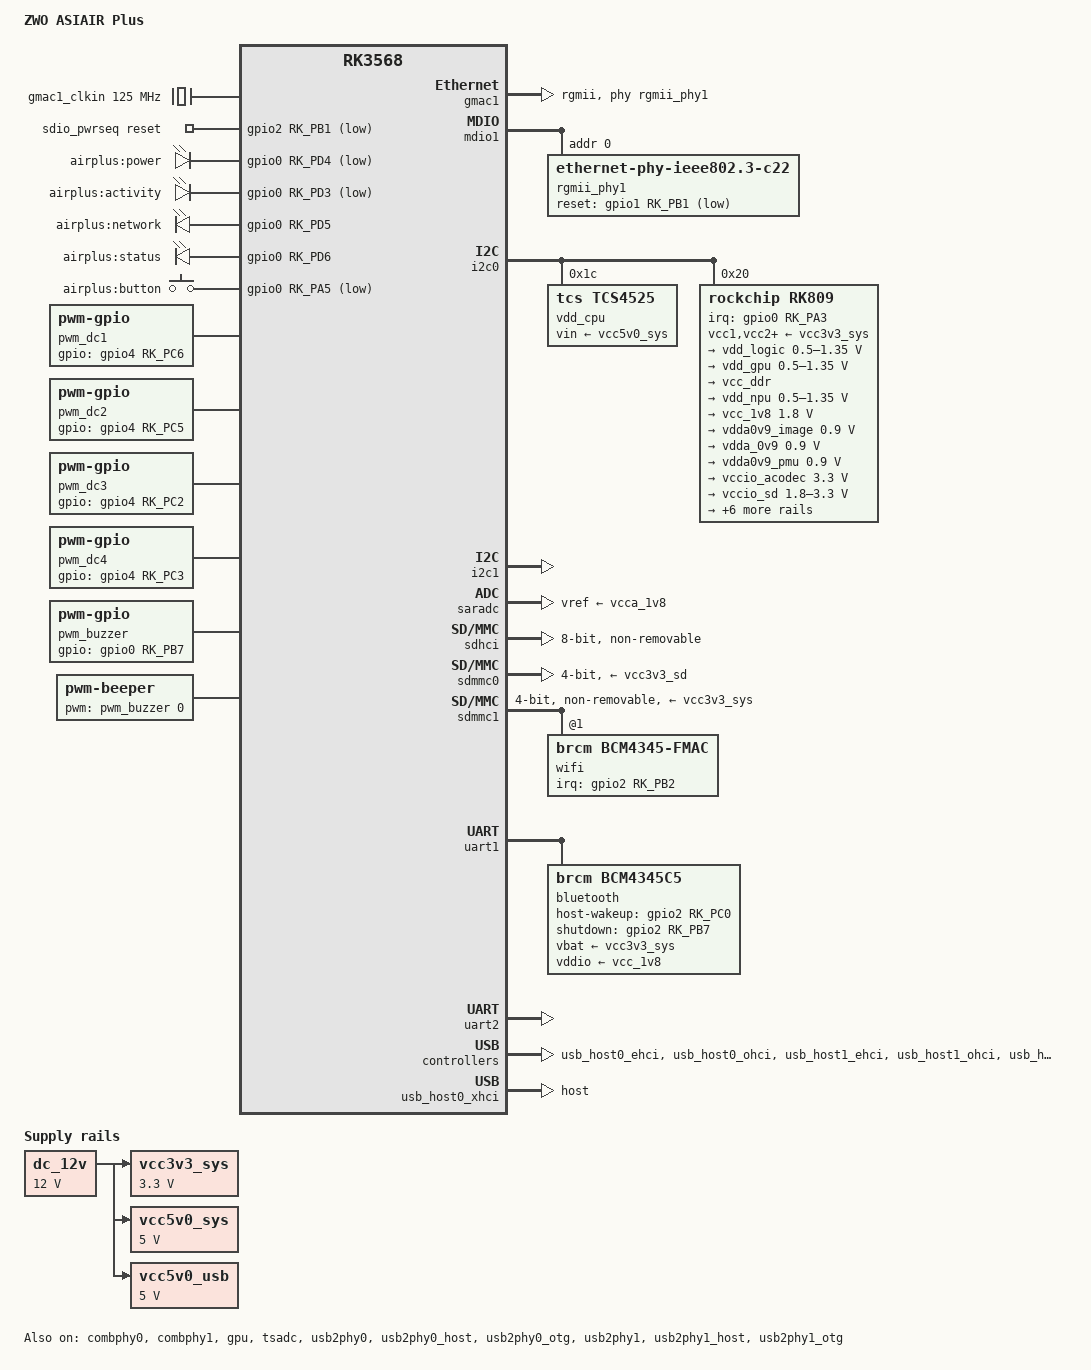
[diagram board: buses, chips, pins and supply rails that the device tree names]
// SPDX-License-Identifier: (GPL-2.0+ OR MIT)
/*
 * ZWO ASIAIR Plus (AirPlus-RK3568) - mainline Linux device tree.
 *
 * Ported from the stock ZWO 4.19.219 BSP tree (../asiair-plus.dts) and
 * the pin map in ../inventory.md. Written against mainline v7.3.
 *
 * Differences from stock:
 *  - ZWO's closed pwm_gpio.ko / "airplus-gpios" node is replaced by the
 *    mainline pwm-gpio driver (CONFIG_PWM_GPIO, 6.11+): one software-PWM
 *    channel per DC port plus one for the piezo, which is wired to
 *    pwm-beeper. LEDs use gpio-leds, the button uses gpio-keys.
 *  - WiFi/BT (AP6256 = BCM43456) use brcmfmac / hci_uart-bcm instead of
 *    bcmdhd.
 *
 * Items marked VERIFY need checking on real hardware.
 */

/dts-v1/;
#include <dt-bindings/gpio/gpio.h>
#include <dt-bindings/input/input.h>
#include <dt-bindings/interrupt-controller/irq.h>
#include <dt-bindings/leds/common.h>
#include <dt-bindings/pinctrl/rockchip.h>
#include "rk3568.dtsi"

/ {
	model = "ZWO ASIAIR Plus";
	compatible = "zwo,asiair-plus", "rockchip,rk3568";

	aliases {
		ethernet0 = &gmac1;
		mmc0 = &sdhci;
		mmc1 = &sdmmc0;
		mmc2 = &sdmmc1;
	};

	chosen {
		/* Stock debug console: uart2m0 @ 1.5 Mbaud (fiq-debugger serial-id 2) */
		stdout-path = "serial2:1500000n8";
		/*
		 * Stock U-Boot takes the command line from here (the boot.img
		 * header cmdline is empty). root= is the stock rootfs (p7) PARTUUID.
		 */
		bootargs = "earlycon=uart8250,mmio32,0xfe660000 console=ttyS2,1500000n8 root=PARTUUID=614e0000-0000-4b53-8000-1d2800005999 rootfstype=ext4 rootwait rw systemd.gpt_auto=0 coherent_pool=8M";
	};

	/* RGMII 125 MHz reference supplied by the PHY (stock external-gmac1-clock) */
	gmac1_clkin: external-gmac1-clock {
		compatible = "fixed-clock";
		clock-frequency = <125000000>;
		clock-output-names = "gmac1_clkin";
		#clock-cells = <0>;
	};

	/* --- Power tree (from stock regulator-fixed nodes) --- */

	dc_12v: regulator-dc-12v {
		compatible = "regulator-fixed";
		regulator-name = "dc_12v";
		regulator-always-on;
		regulator-boot-on;
		regulator-min-microvolt = <12000000>;
		regulator-max-microvolt = <12000000>;
	};

	vcc3v3_sys: regulator-vcc3v3-sys {
		compatible = "regulator-fixed";
		regulator-name = "vcc3v3_sys";
		regulator-always-on;
		regulator-boot-on;
		regulator-min-microvolt = <3300000>;
		regulator-max-microvolt = <3300000>;
		vin-supply = <&dc_12v>;
	};

	vcc5v0_sys: regulator-vcc5v0-sys {
		compatible = "regulator-fixed";
		regulator-name = "vcc5v0_sys";
		regulator-always-on;
		regulator-boot-on;
		regulator-min-microvolt = <5000000>;
		regulator-max-microvolt = <5000000>;
		vin-supply = <&dc_12v>;
	};

	vcc5v0_usb: regulator-vcc5v0-usb {
		compatible = "regulator-fixed";
		regulator-name = "vcc5v0_usb";
		regulator-always-on;
		regulator-boot-on;
		regulator-min-microvolt = <5000000>;
		regulator-max-microvolt = <5000000>;
		vin-supply = <&dc_12v>;
	};

	/* --- WiFi power sequence (AP6256 WL_REG_ON = GPIO2_B1) --- */

	sdio_pwrseq: sdio-pwrseq {
		compatible = "mmc-pwrseq-simple";
		clocks = <&rk809 1>;
		clock-names = "ext_clock";
		pinctrl-names = "default";
		pinctrl-0 = <&wifi_enable_h>;
		post-power-on-delay-ms = <200>;
		reset-gpios = <&gpio2 RK_PB1 GPIO_ACTIVE_LOW>;
	};

	/* --- LEDs: GPIO0_D3..D6 cluster --- */

	leds {
		compatible = "gpio-leds";
		pinctrl-names = "default";
		pinctrl-0 = <&led_pins>;

		/*
		 * Stock drives this on from boot. Keep it that way: it may be
		 * part of what the power MCU watches (see README.md).
		 */
		led-power {
			label = "airplus:power";
			function = LED_FUNCTION_POWER;
			gpios = <&gpio0 RK_PD4 GPIO_ACTIVE_LOW>;
			default-state = "on";
			linux,default-trigger = "default-on";
		};

		led-activity {
			label = "airplus:activity";
			function = LED_FUNCTION_ACTIVITY;
			gpios = <&gpio0 RK_PD3 GPIO_ACTIVE_LOW>;
			default-state = "off";
			linux,default-trigger = "activity";
		};

		/* VERIFY polarity: stock shows D5 "out hi" while lit */
		led-network {
			label = "airplus:network";
			function = LED_FUNCTION_WLAN;
			gpios = <&gpio0 RK_PD5 GPIO_ACTIVE_HIGH>;
			default-state = "on";
		};

		/* VERIFY polarity */
		led-status {
			label = "airplus:status";
			function = LED_FUNCTION_STATUS;
			gpios = <&gpio0 RK_PD6 GPIO_ACTIVE_HIGH>;
			default-state = "off";
		};
	};

	/* --- Front button: GPIO0_A5, pulled up, presumably active low --- */

	gpio-keys {
		compatible = "gpio-keys";
		pinctrl-names = "default";
		pinctrl-0 = <&button_pin>;

		button {
			label = "airplus:button";
			/* Not KEY_POWER on purpose: userspace decides what it does */
			linux,code = <BTN_0>;
			gpios = <&gpio0 RK_PA5 GPIO_ACTIVE_LOW>;
			debounce-interval = <50>;
			wakeup-source;
		};
	};

	/*
	 * --- 12V DC power ports: software PWM via mainline pwm-gpio ---
	 *
	 * Each port is its own pwm-gpio controller (one channel, index 0),
	 * exposed at /sys/class/pwm/pwmchipN. 100% duty = plain on, 0% = off,
	 * anything between = dew-heater style dimming.
	 * The port label LEDs are believed to be wired to the MOSFET gate.
	 */

	pwm_dc1: pwm-dc1 {
		compatible = "pwm-gpio";
		#pwm-cells = <3>;
		gpios = <&gpio4 RK_PC6 GPIO_ACTIVE_HIGH>;
	};

	pwm_dc2: pwm-dc2 {
		compatible = "pwm-gpio";
		#pwm-cells = <3>;
		gpios = <&gpio4 RK_PC5 GPIO_ACTIVE_HIGH>;
	};

	pwm_dc3: pwm-dc3 {
		compatible = "pwm-gpio";
		#pwm-cells = <3>;
		gpios = <&gpio4 RK_PC2 GPIO_ACTIVE_HIGH>;
	};

	pwm_dc4: pwm-dc4 {
		compatible = "pwm-gpio";
		#pwm-cells = <3>;
		gpios = <&gpio4 RK_PC3 GPIO_ACTIVE_HIGH>;
	};

	/* --- Piezo buzzer: GPIO0_B7, software PWM -> input beeper --- */

	pwm_buzzer: pwm-buzzer {
		compatible = "pwm-gpio";
		#pwm-cells = <3>;
		gpios = <&gpio0 RK_PB7 GPIO_ACTIVE_HIGH>;
	};

	beeper {
		compatible = "pwm-beeper";
		/* 1 kHz period, matches stock beep (period 1 ms) */
		pwms = <&pwm_buzzer 0 1000000 0>;
	};
};

&combphy0 {
	/* USB3 OTG port (usb_host0_xhci) */
	status = "okay";
};

&combphy1 {
	/* USB3 host port (usb_host1_xhci) */
	status = "okay";
};

&cpu0 {
	cpu-supply = <&vdd_cpu>;
};

&cpu1 {
	cpu-supply = <&vdd_cpu>;
};

&cpu2 {
	cpu-supply = <&vdd_cpu>;
};

&cpu3 {
	cpu-supply = <&vdd_cpu>;
};

/* --- Ethernet: GMAC1, m0 pins, RGMII, 125 MHz clock from the PHY --- */

&gmac1 {
	assigned-clocks = <&cru SCLK_GMAC1_RX_TX>, <&cru SCLK_GMAC1>;
	assigned-clock-parents = <&cru SCLK_GMAC1_RGMII_SPEED>, <&gmac1_clkin>;
	clock_in_out = "input";
	phy-handle = <&rgmii_phy1>;
	/* Stock uses MAC-side delays with plain "rgmii" */
	phy-mode = "rgmii";
	tx_delay = <0x4f>;
	rx_delay = <0x26>;
	pinctrl-names = "default";
	pinctrl-0 = <&gmac1m0_miim
		     &gmac1m0_tx_bus2
		     &gmac1m0_rx_bus2
		     &gmac1m0_rgmii_clk
		     &gmac1m0_rgmii_bus
		     &gmac1m0_clkinout>;
	status = "okay";
};

&mdio1 {
	rgmii_phy1: ethernet-phy@0 {
		compatible = "ethernet-phy-ieee802.3-c22";
		reg = <0x0>;
		/* Stock snps,reset-gpio GPIO1_B1, delays 0 / 20 ms / 100 ms */
		reset-gpios = <&gpio1 RK_PB1 GPIO_ACTIVE_LOW>;
		reset-assert-us = <20000>;
		reset-deassert-us = <100000>;
	};
};

&gpu {
	mali-supply = <&vdd_gpu>;
	status = "okay";
};

/* --- I2C0: CPU regulator + RK809 PMIC --- */

&i2c0 {
	status = "okay";

	vdd_cpu: regulator@1c {
		compatible = "tcs,tcs4525";
		reg = <0x1c>;
		fcs,suspend-voltage-selector = <1>;
		regulator-name = "vdd_cpu";
		regulator-always-on;
		regulator-boot-on;
		regulator-min-microvolt = <712500>;
		regulator-max-microvolt = <1390000>;
		regulator-ramp-delay = <2300>;
		vin-supply = <&vcc5v0_sys>;

		regulator-state-mem {
			regulator-off-in-suspend;
		};
	};

	rk809: pmic@20 {
		compatible = "rockchip,rk809";
		reg = <0x20>;
		interrupt-parent = <&gpio0>;
		interrupts = <RK_PA3 IRQ_TYPE_LEVEL_LOW>;
		#clock-cells = <1>;
		clock-output-names = "rk808-clkout1", "rk808-clkout2";
		pinctrl-names = "default";
		pinctrl-0 = <&pmic_int>;
		system-power-controller;
		wakeup-source;

		vcc1-supply = <&vcc3v3_sys>;
		vcc2-supply = <&vcc3v3_sys>;
		vcc3-supply = <&vcc3v3_sys>;
		vcc4-supply = <&vcc3v3_sys>;
		vcc5-supply = <&vcc3v3_sys>;
		vcc6-supply = <&vcc3v3_sys>;
		vcc7-supply = <&vcc3v3_sys>;
		vcc8-supply = <&vcc3v3_sys>;
		vcc9-supply = <&vcc3v3_sys>;

		regulators {
			vdd_logic: DCDC_REG1 {
				regulator-name = "vdd_logic";
				regulator-always-on;
				regulator-boot-on;
				regulator-min-microvolt = <500000>;
				regulator-max-microvolt = <1350000>;
				regulator-init-microvolt = <900000>;
				regulator-ramp-delay = <6001>;
				regulator-initial-mode = <0x2>;

				regulator-state-mem {
					regulator-off-in-suspend;
				};
			};

			vdd_gpu: DCDC_REG2 {
				regulator-name = "vdd_gpu";
				regulator-always-on;
				regulator-min-microvolt = <500000>;
				regulator-max-microvolt = <1350000>;
				regulator-init-microvolt = <900000>;
				regulator-ramp-delay = <6001>;
				regulator-initial-mode = <0x2>;

				regulator-state-mem {
					regulator-off-in-suspend;
				};
			};

			vcc_ddr: DCDC_REG3 {
				regulator-name = "vcc_ddr";
				regulator-always-on;
				regulator-boot-on;
				regulator-initial-mode = <0x2>;

				regulator-state-mem {
					regulator-on-in-suspend;
				};
			};

			vdd_npu: DCDC_REG4 {
				regulator-name = "vdd_npu";
				regulator-min-microvolt = <500000>;
				regulator-max-microvolt = <1350000>;
				regulator-init-microvolt = <900000>;
				regulator-ramp-delay = <6001>;
				regulator-initial-mode = <0x2>;

				regulator-state-mem {
					regulator-off-in-suspend;
				};
			};

			vcc_1v8: DCDC_REG5 {
				regulator-name = "vcc_1v8";
				regulator-always-on;
				regulator-boot-on;
				regulator-min-microvolt = <1800000>;
				regulator-max-microvolt = <1800000>;

				regulator-state-mem {
					regulator-off-in-suspend;
				};
			};

			vdda0v9_image: LDO_REG1 {
				regulator-name = "vdda0v9_image";
				regulator-always-on;
				regulator-min-microvolt = <900000>;
				regulator-max-microvolt = <900000>;

				regulator-state-mem {
					regulator-off-in-suspend;
				};
			};

			vdda_0v9: LDO_REG2 {
				regulator-name = "vdda_0v9";
				regulator-always-on;
				regulator-boot-on;
				regulator-min-microvolt = <900000>;
				regulator-max-microvolt = <900000>;

				regulator-state-mem {
					regulator-off-in-suspend;
				};
			};

			vdda0v9_pmu: LDO_REG3 {
				regulator-name = "vdda0v9_pmu";
				regulator-always-on;
				regulator-boot-on;
				regulator-min-microvolt = <900000>;
				regulator-max-microvolt = <900000>;

				regulator-state-mem {
					regulator-on-in-suspend;
					regulator-suspend-microvolt = <900000>;
				};
			};

			vccio_acodec: LDO_REG4 {
				regulator-name = "vccio_acodec";
				regulator-always-on;
				regulator-boot-on;
				regulator-min-microvolt = <3300000>;
				regulator-max-microvolt = <3300000>;

				regulator-state-mem {
					regulator-off-in-suspend;
				};
			};

			vccio_sd: LDO_REG5 {
				regulator-name = "vccio_sd";
				regulator-always-on;
				regulator-boot-on;
				regulator-min-microvolt = <1800000>;
				regulator-max-microvolt = <3300000>;

				regulator-state-mem {
					regulator-off-in-suspend;
				};
			};

			vcc3v3_pmu: LDO_REG6 {
				regulator-name = "vcc3v3_pmu";
				regulator-always-on;
				regulator-boot-on;
				regulator-min-microvolt = <3300000>;
				regulator-max-microvolt = <3300000>;

				regulator-state-mem {
					regulator-on-in-suspend;
					regulator-suspend-microvolt = <3300000>;
				};
			};

			vcca_1v8: LDO_REG7 {
				regulator-name = "vcca_1v8";
				regulator-always-on;
				regulator-boot-on;
				regulator-min-microvolt = <1800000>;
				regulator-max-microvolt = <1800000>;

				regulator-state-mem {
					regulator-off-in-suspend;
				};
			};

			vcca1v8_pmu: LDO_REG8 {
				regulator-name = "vcca1v8_pmu";
				regulator-always-on;
				regulator-boot-on;
				regulator-min-microvolt = <1800000>;
				regulator-max-microvolt = <1800000>;

				regulator-state-mem {
					regulator-on-in-suspend;
					regulator-suspend-microvolt = <1800000>;
				};
			};

			vcca1v8_image: LDO_REG9 {
				regulator-name = "vcca1v8_image";
				regulator-always-on;
				regulator-boot-on;
				regulator-min-microvolt = <1800000>;
				regulator-max-microvolt = <1800000>;

				regulator-state-mem {
					regulator-off-in-suspend;
				};
			};

			vcc_3v3: SWITCH_REG1 {
				regulator-name = "vcc_3v3";
				regulator-always-on;
				regulator-boot-on;

				regulator-state-mem {
					regulator-off-in-suspend;
				};
			};

			vcc3v3_sd: SWITCH_REG2 {
				regulator-name = "vcc3v3_sd";
				regulator-always-on;
				regulator-boot-on;

				regulator-state-mem {
					regulator-off-in-suspend;
				};
			};
		};
	};
};

&i2c1 {
	/* Enabled on stock with no children; left on for probing */
	status = "okay";
};

&pinctrl {
	/*
	 * USB port power enables (GPIO0_C2, A6, B0, C7). Stock leaves them as
	 * inputs with pull-ups = power on; driving one low cuts that port.
	 * Hogged here as pull-up inputs so ports are on at boot, still
	 * switchable from userspace with gpioset (gpiochip0 lines 18/6/8/23).
	 */
	pinctrl-names = "default";
	pinctrl-0 = <&usb_power_pins>;

	airplus {
		usb_power_pins: usb-power-pins {
			rockchip,pins =
				<0 RK_PC2 RK_FUNC_GPIO &pcfg_pull_up>,
				<0 RK_PA6 RK_FUNC_GPIO &pcfg_pull_up>,
				<0 RK_PB0 RK_FUNC_GPIO &pcfg_pull_up>,
				<0 RK_PC7 RK_FUNC_GPIO &pcfg_pull_up>;
		};

		button_pin: button-pin {
			rockchip,pins = <0 RK_PA5 RK_FUNC_GPIO &pcfg_pull_up>;
		};

		led_pins: led-pins {
			rockchip,pins =
				<0 RK_PD3 RK_FUNC_GPIO &pcfg_pull_none>,
				<0 RK_PD4 RK_FUNC_GPIO &pcfg_pull_none>,
				<0 RK_PD5 RK_FUNC_GPIO &pcfg_pull_none>,
				<0 RK_PD6 RK_FUNC_GPIO &pcfg_pull_none>;
		};
	};

	bluetooth {
		bt_reg_on_h: bt-reg-on-h {
			rockchip,pins = <2 RK_PB7 RK_FUNC_GPIO &pcfg_pull_none>;
		};

		bt_wake_host_h: bt-wake-host-h {
			rockchip,pins = <2 RK_PC0 RK_FUNC_GPIO &pcfg_pull_down>;
		};
	};

	pmic {
		pmic_int: pmic-int {
			rockchip,pins = <0 RK_PA3 RK_FUNC_GPIO &pcfg_pull_up>;
		};
	};

	sdio-pwrseq {
		wifi_enable_h: wifi-enable-h {
			rockchip,pins = <2 RK_PB1 RK_FUNC_GPIO &pcfg_pull_none>;
		};
	};

	wifi {
		wifi_host_wake_irq: wifi-host-wake-irq {
			rockchip,pins = <2 RK_PB2 RK_FUNC_GPIO &pcfg_pull_down>;
		};
	};
};

/* I/O voltage domains copied from stock. Getting these wrong can damage pads. */
&pmu_io_domains {
	pmuio1-supply = <&vcc3v3_pmu>;
	pmuio2-supply = <&vcc3v3_pmu>;
	vccio1-supply = <&vccio_acodec>;
	/* vccio2 not set in stock; eMMC/boot pins, 1.8 V like every RK3568 ref board */
	vccio2-supply = <&vcc_1v8>;
	vccio3-supply = <&vccio_sd>;
	vccio4-supply = <&vcc_1v8>;
	vccio5-supply = <&vcc_1v8>;	/* stock: 1.8 V (EVB uses 3.3 V) */
	vccio6-supply = <&vcc_1v8>;
	vccio7-supply = <&vcc_3v3>;
	status = "okay";
};

&saradc {
	vref-supply = <&vcca_1v8>;
	status = "okay";
};

/* eMMC (256 GB) */
&sdhci {
	bus-width = <8>;
	max-frequency = <200000000>;
	non-removable;
	pinctrl-names = "default";
	pinctrl-0 = <&emmc_bus8 &emmc_clk &emmc_cmd &emmc_datastrobe>;
	status = "okay";
};

/* SD card slot: enabled on stock (card detect via sdmmc0_det) */
&sdmmc0 {
	bus-width = <4>;
	cap-sd-highspeed;
	cap-mmc-highspeed;
	card-detect-delay = <1500>;
	disable-wp;
	pinctrl-names = "default";
	pinctrl-0 = <&sdmmc0_bus4 &sdmmc0_clk &sdmmc0_cmd &sdmmc0_det>;
	sd-uhs-sdr104;
	vmmc-supply = <&vcc3v3_sd>;
	vqmmc-supply = <&vccio_sd>;
	status = "okay";
};

/* SDIO WiFi: AP6256 (BCM43456) */
&sdmmc1 {
	bus-width = <4>;
	cap-sd-highspeed;
	cap-sdio-irq;
	keep-power-in-suspend;
	max-frequency = <100000000>;
	mmc-pwrseq = <&sdio_pwrseq>;
	non-removable;
	pinctrl-names = "default";
	pinctrl-0 = <&sdmmc1_bus4 &sdmmc1_cmd &sdmmc1_clk>;
	sd-uhs-sdr104;
	vmmc-supply = <&vcc3v3_sys>;
	vqmmc-supply = <&vcc_1v8>;
	#address-cells = <1>;
	#size-cells = <0>;
	status = "okay";

	wifi@1 {
		compatible = "brcm,bcm4345-fmac", "brcm,bcm4329-fmac";
		reg = <1>;
		interrupt-parent = <&gpio2>;
		interrupts = <RK_PB2 IRQ_TYPE_LEVEL_HIGH>;
		interrupt-names = "host-wake";
		pinctrl-names = "default";
		pinctrl-0 = <&wifi_host_wake_irq>;
	};
};

&tsadc {
	rockchip,hw-tshut-mode = <1>;
	rockchip,hw-tshut-polarity = <0>;
	status = "okay";
};

/* Bluetooth: AP6256 BT on uart1m0 with hardware flow control */
&uart1 {
	dma-names = "tx", "rx";
	pinctrl-names = "default";
	pinctrl-0 = <&uart1m0_xfer &uart1m0_ctsn &uart1m0_rtsn>;
	uart-has-rtscts;
	status = "okay";

	bluetooth {
		compatible = "brcm,bcm4345c5";
		clocks = <&rk809 1>;
		clock-names = "lpo";
		host-wakeup-gpios = <&gpio2 RK_PC0 GPIO_ACTIVE_HIGH>;
		shutdown-gpios = <&gpio2 RK_PB7 GPIO_ACTIVE_HIGH>;
		max-speed = <1500000>;
		pinctrl-names = "default";
		pinctrl-0 = <&bt_reg_on_h &bt_wake_host_h>;
		vbat-supply = <&vcc3v3_sys>;
		vddio-supply = <&vcc_1v8>;
	};
};

/* Debug console */
&uart2 {
	status = "okay";
};

/* --- USB --- */

&usb_host0_ehci {
	status = "okay";
};

&usb_host0_ohci {
	status = "okay";
};

/* Stock runs this controller as OTG; host-only here since all ports are type A */
&usb_host0_xhci {
	dr_mode = "host";
	status = "okay";
};

&usb_host1_ehci {
	status = "okay";
};

&usb_host1_ohci {
	status = "okay";
};

&usb_host1_xhci {
	status = "okay";
};

&usb2phy0 {
	status = "okay";
};

&usb2phy0_host {
	phy-supply = <&vcc5v0_usb>;
	status = "okay";
};

&usb2phy0_otg {
	phy-supply = <&vcc5v0_usb>;
	status = "okay";
};

&usb2phy1 {
	status = "okay";
};

&usb2phy1_host {
	phy-supply = <&vcc5v0_usb>;
	status = "okay";
};

&usb2phy1_otg {
	phy-supply = <&vcc5v0_usb>;
	status = "okay";
};
